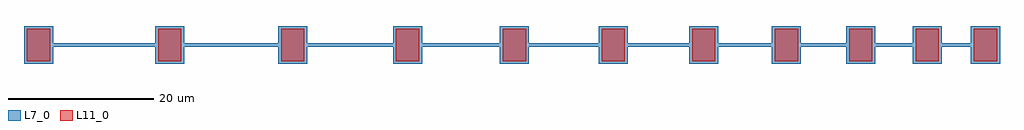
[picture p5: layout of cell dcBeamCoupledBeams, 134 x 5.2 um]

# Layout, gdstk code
import gdstk
lib = gdstk.Library(unit=1e-6, precision=1e-09)
def R(c, l, rs):  # rectangles x0, y0, x1, y1
    for r in rs: c.add(gdstk.rectangle(r[:2], r[2:], *l))
def P(c, l, *ps):  # polygons
    for p in ps: c.add(gdstk.Polygon(p, *l))
L7_0 = (7, 0)
L11_0 = (11, 0)

dcbeamcoupledbeams = lib.new_cell('dcBeamCoupledBeams')
P(dcbeamcoupledbeams, L7_0, [(0,0),(0,5.2),(4,5.2),(4,2.85),(18,2.85),(18,5.2),(22,5.2),(22,2.85),(34.889,2.85),(34.889,5.2),(38.889,5.2),(38.889,2.85),(50.667,2.85),(50.667,5.2),(54.667,5.2),(54.667,2.85),(65.333,2.85),(65.333,5.2),(69.333,5.2),(69.333,2.85),(78.889,2.85),(78.889,5.2),(82.889,5.2),(82.889,2.85),(91.333,2.85),(91.333,5.2),(95.333,5.2),(95.333,2.85),(102.667,2.85),(102.667,5.2),(106.667,5.2),(106.667,2.85),(112.889,2.85),(112.889,5.2),(116.889,5.2),(116.889,2.85),(122,2.85),(122,5.2),(126,5.2),(126,2.85),(130,2.85),(130,5.2),(134,5.2),(134,0),(130,0),(130,2.35),(126,2.35),(126,0),(122,0),(122,2.35),(116.889,2.35),(116.889,0),(112.889,0),(112.889,2.35),(106.667,2.35),(106.667,0),(102.667,0),(102.667,2.35),(95.333,2.35),(95.333,0),(91.333,0),(91.333,2.35),(82.889,2.35),(82.889,0),(78.889,0),(78.889,2.35),(69.333,2.35),(69.333,0),(65.333,0),(65.333,2.35),(54.667,2.35),(54.667,0),(50.667,0),(50.667,2.35),(38.889,2.35),(38.889,0),(34.889,0),(34.889,2.35),(22,2.35),(22,0),(18,0),(18,2.35),(4,2.35),(4,0)])
R(dcbeamcoupledbeams, L11_0, [(0.4,0.4,3.6,4.8), (18.4,0.4,21.6,4.8), (35.289,0.4,38.489,4.8), (51.067,0.4,54.267,4.8), (65.733,0.4,68.933,4.8), (79.289,0.4,82.489,4.8), (91.733,0.4,94.933,4.8), (103.067,0.4,106.267,4.8), (113.289,0.4,116.489,4.8), (122.4,0.4,125.6,4.8), (130.4,0.4,133.6,4.8)])

lib.write_gds('dcBeamCoupledBeams.gds')
